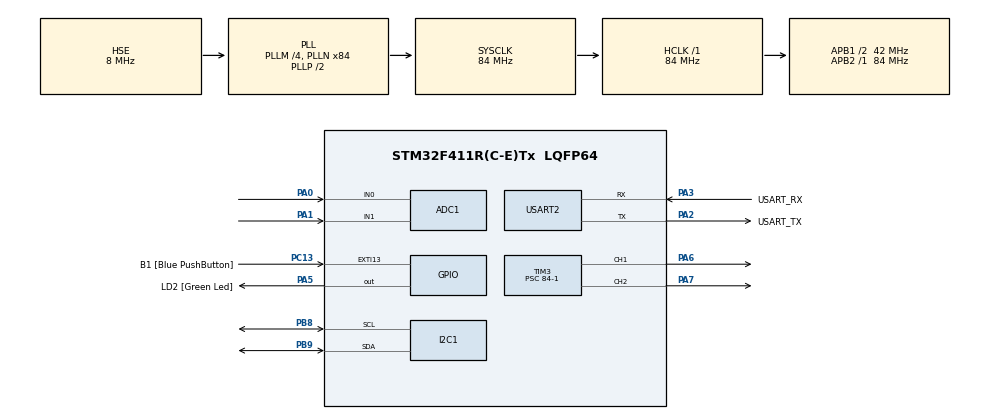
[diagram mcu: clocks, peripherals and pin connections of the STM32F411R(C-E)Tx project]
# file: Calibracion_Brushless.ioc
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ADC1.Channel-0\#ChannelRegularConversion=ADC_CHANNEL_0
ADC1.Channel-1\#ChannelRegularConversion=ADC_CHANNEL_1
ADC1.NbrOfConversion=2
ADC1.NbrOfConversionFlag=1
ADC1.Rank-0\#ChannelRegularConversion=1
ADC1.Rank-1\#ChannelRegularConversion=2
ADC1.SamplingTime-0\#ChannelRegularConversion=ADC_SAMPLETIME_84CYCLES
ADC1.SamplingTime-1\#ChannelRegularConversion=ADC_SAMPLETIME_84CYCLES
ADC1.ScanConvMode=ENABLE
ADC1.master=1
Dma.I2C1_RX.0.Direction=DMA_PERIPH_TO_MEMORY
Dma.I2C1_RX.0.FIFOMode=DMA_FIFOMODE_DISABLE
Dma.I2C1_RX.0.Instance=DMA1_Stream0
Dma.I2C1_RX.0.MemDataAlignment=DMA_MDATAALIGN_BYTE
Dma.I2C1_RX.0.MemInc=DMA_MINC_ENABLE
Dma.I2C1_RX.0.Mode=DMA_NORMAL
Dma.I2C1_RX.0.PeriphDataAlignment=DMA_PDATAALIGN_BYTE
Dma.I2C1_RX.0.PeriphInc=DMA_PINC_DISABLE
Dma.I2C1_RX.0.Priority=DMA_PRIORITY_MEDIUM
Dma.I2C1_TX.1.Direction=DMA_MEMORY_TO_PERIPH
Dma.I2C1_TX.1.FIFOMode=DMA_FIFOMODE_DISABLE
Dma.I2C1_TX.1.Instance=DMA1_Stream1
Dma.I2C1_TX.1.MemDataAlignment=DMA_MDATAALIGN_BYTE
Dma.I2C1_TX.1.MemInc=DMA_MINC_ENABLE
Dma.I2C1_TX.1.Mode=DMA_NORMAL
Dma.I2C1_TX.1.PeriphDataAlignment=DMA_PDATAALIGN_BYTE
Dma.I2C1_TX.1.PeriphInc=DMA_PINC_DISABLE
Dma.I2C1_TX.1.Priority=DMA_PRIORITY_MEDIUM
Dma.Request0=I2C1_RX
Dma.Request1=I2C1_TX
FREERTOS.Tasks01=defaultTask,24,128,StartDefaultTask,Default,NULL,Dynamic,NULL,NULL
I2C1.I2C_Mode=I2C_Fast
Mcu.Family=STM32F4
Mcu.Name=STM32F411R(C-E)Tx
Mcu.Package=LQFP64
NVIC.DMA1_Stream0_IRQn=true\:5\:0\:false\:false\:true\:true\:false\:true\:true
NVIC.DMA1_Stream1_IRQn=true\:5\:0\:false\:false\:true\:true\:false\:true\:true
NVIC.I2C1_ER_IRQn=true\:5\:0\:false\:false\:true\:true\:true\:true\:true
NVIC.I2C1_EV_IRQn=true\:5\:0\:false\:false\:true\:true\:true\:true\:true
NVIC.PriorityGroup=NVIC_PRIORITYGROUP_4
NVIC.TIM4_IRQn=true\:5\:0\:false\:true\:true\:1\:true\:true\:true\:true
PA0-WKUP.Signal=ADCx_IN0
PA1.Signal=ADCx_IN1
PA13.GPIO_Label=TMS
PA13.Mode=Serial_Wire
PA13.Signal=SYS_JTMS-SWDIO
PA14.GPIO_Label=TCK
PA14.Mode=Serial_Wire
PA14.Signal=SYS_JTCK-SWCLK
PA2.GPIO_Label=USART_TX
PA2.Mode=Asynchronous
PA2.Signal=USART2_TX
PA3.GPIO_Label=USART_RX
PA3.Mode=Asynchronous
PA3.Signal=USART2_RX
PA5.GPIO_Label=LD2 [Green Led]
PA5.Signal=GPIO_Output
PA6.Signal=S_TIM3_CH1
PA7.Signal=S_TIM3_CH2
PB3.GPIO_Label=SWO
PB3.Signal=SYS_JTDO-SWO
PB8.Mode=I2C
PB8.Signal=I2C1_SCL
PB9.Mode=I2C
PB9.Signal=I2C1_SDA
PC13-ANTI_TAMP.GPIO_Label=B1 [Blue PushButton]
PC13-ANTI_TAMP.GPIO_ModeDefaultEXTI=GPIO_MODE_IT_FALLING
PC13-ANTI_TAMP.Signal=GPXTI13
PC14-OSC32_IN.Mode=LSE-External-Oscillator
PC14-OSC32_IN.Signal=RCC_OSC32_IN
PC15-OSC32_OUT.Mode=LSE-External-Oscillator
PC15-OSC32_OUT.Signal=RCC_OSC32_OUT
PH0\ -\ OSC_IN.Mode=HSE-External-Oscillator
PH0\ -\ OSC_IN.Signal=RCC_OSC_IN
PH1\ -\ OSC_OUT.Mode=HSE-External-Oscillator
PH1\ -\ OSC_OUT.Signal=RCC_OSC_OUT
ProjectManager.HeapSize=0x200
ProjectManager.StackSize=0x400
ProjectManager.TargetToolchain=STM32CubeIDE
RCC.48MHZClocksFreq_Value=42000000
RCC.AHBFreq_Value=84000000
RCC.APB1CLKDivider=RCC_HCLK_DIV2
RCC.APB1Freq_Value=42000000
RCC.APB1TimFreq_Value=84000000
RCC.APB2Freq_Value=84000000
RCC.APB2TimFreq_Value=84000000
RCC.CortexFreq_Value=84000000
RCC.FLatency-AdvancedSettings=FLASH_LATENCY_2
RCC.HCLKFreq_Value=84000000
RCC.HSE_VALUE=8000000
RCC.HSI_VALUE=16000000
RCC.PLLM=4
RCC.PLLN=84
RCC.PLLSourceVirtual=RCC_PLLSOURCE_HSE
RCC.SYSCLKFreq_VALUE=84000000
RCC.SYSCLKSource=RCC_SYSCLKSOURCE_PLLCLK
RCC.VCOOutputFreq_Value=168000000
SH.ADCx_IN0.0=ADC1_IN0,IN0
SH.ADCx_IN1.0=ADC1_IN1,IN1
SH.S_TIM3_CH1.0=TIM3_CH1,PWM Generation1 CH1
SH.S_TIM3_CH2.0=TIM3_CH2,PWM Generation2 CH2
TIM3.Channel-PWM\ Generation1\ CH1=TIM_CHANNEL_1
TIM3.Channel-PWM\ Generation2\ CH2=TIM_CHANNEL_2
TIM3.Period=20000-1
TIM3.Prescaler=84-1
TIM4.Period=100-1
TIM4.Prescaler=8400-1
USART2.VirtualMode=VM_ASYNC
VP_FREERTOS_VS_CMSIS_V2.Mode=CMSIS_V2
VP_TIM3_VS_ClockSourceINT.Mode=Internal
VP_TIM4_VS_ClockSourceINT.Mode=Internal
board=NUCLEO-F411RE

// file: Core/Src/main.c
/* USER CODE BEGIN Header */
/**
  ******************************************************************************
  * @file           : main.c
  * @brief          : Main program body
  ******************************************************************************
  * @attention
  *
  * Copyright (c) 2026 STMicroelectronics.
  * All rights reserved.
  *
  * This software is licensed under terms that can be found in the LICENSE file
  * in the root directory of this software component.
  * If no LICENSE file comes with this software, it is provided AS-IS.
  *
  ******************************************************************************
  */
/* USER CODE END Header */
#include "main.h"
#include "cmsis_os.h"

/* USER CODE BEGIN Includes */
#include <stdio.h>
#include "FreeRTOS.h"
#include "task.h"
#include "queue.h"
/* USER CODE END Includes */

/* USER CODE BEGIN PTD */
typedef struct
{
	int adc[2];
}ADC_data_t;
/* USER CODE END PTD */

/* USER CODE BEGIN PM */
#define PWM_MIN 1000
#define PWM_MAX 2000
/* USER CODE END PM */

ADC_HandleTypeDef hadc1;

I2C_HandleTypeDef hi2c1;
DMA_HandleTypeDef hdma_i2c1_rx;
DMA_HandleTypeDef hdma_i2c1_tx;

TIM_HandleTypeDef htim3;
TIM_HandleTypeDef htim4;

UART_HandleTypeDef huart2;

/* Definitions for defaultTask */
osThreadId_t defaultTaskHandle;
const osThreadAttr_t defaultTask_attributes = {
  .name = "defaultTask",
  .stack_size = 128 * 4,
  .priority = (osPriority_t) osPriorityNormal,
};
/* USER CODE BEGIN PV */
QueueHandle_t cola = NULL;
/* USER CODE END PV */

void SystemClock_Config(void);
static void MX_GPIO_Init(void);
static void MX_DMA_Init(void);
static void MX_USART2_UART_Init(void);
static void MX_ADC1_Init(void);
static void MX_TIM3_Init(void);
static void MX_I2C1_Init(void);
static void MX_TIM4_Init(void);
void StartDefaultTask(void *argument);

static void MX_NVIC_Init(void);
/* USER CODE BEGIN PFP */
int __io_putchar(int ch);
int uart2_write(int ch);
static void ADC_Read2Blocking(void *arg);
void ADC_2_PWM(void *arg);
void map(int entrada, int *salida, int min_in, int max_in, int min_out, int max_out);
/* USER CODE END PFP */

int main(void)
{

  /* MCU Configuration--------------------------------------------------------*/

  /* Reset of all peripherals, Initializes the Flash interface and the Systick. */
  HAL_Init();

  /* Configure the system clock */
  SystemClock_Config();

  /* Initialize all configured peripherals */
  MX_GPIO_Init();
  MX_DMA_Init();
  MX_USART2_UART_Init();
  MX_ADC1_Init();
  MX_TIM3_Init();
  MX_I2C1_Init();
  MX_TIM4_Init();

  /* Initialize interrupts */
  MX_NVIC_Init();
  /* USER CODE BEGIN 2 */
  HAL_TIM_PWM_Start(&htim3, TIM_CHANNEL_1);
  HAL_TIM_PWM_Start(&htim3, TIM_CHANNEL_2);
  HAL_TIM_Base_Start_IT(&htim4);
  /* USER CODE END 2 */

  /* Init scheduler */
  osKernelInitialize();

  /* USER CODE BEGIN RTOS_QUEUES */
  /* add queues, ... */
  cola = xQueueCreate(1, sizeof(ADC_data_t));
  /* USER CODE END RTOS_QUEUES */

  /* Create the thread(s) */
  /* creation of defaultTask */
  defaultTaskHandle = osThreadNew(StartDefaultTask, NULL, &defaultTask_attributes);

  /* USER CODE BEGIN RTOS_THREADS */
  /* add threads, ... */
  xTaskCreate(ADC_Read2Blocking, "ADC", 128, NULL, 2, NULL);
  xTaskCreate(ADC_2_PWM, "PWM", 128, NULL, 2, NULL);
  /* USER CODE END RTOS_THREADS */

  /* Start scheduler */
  osKernelStart();

  /* We should never get here as control is now taken by the scheduler */

  /* Infinite loop */
  while (1)
  {

    /* USER CODE BEGIN 3 */
	  //printf("A0=%d\tA1=%d \n\r", adc_val[0], adc_val[1]);

	  //ADC A0 modifica Pwm PA6
	  //ADC A1 modifica Pwm PA7

  }
  /* USER CODE END 3 */
}

void SystemClock_Config(void)
{
  RCC_OscInitTypeDef RCC_OscInitStruct = {0};
  RCC_ClkInitTypeDef RCC_ClkInitStruct = {0};

  /** Configure the main internal regulator output voltage
  */
  __HAL_RCC_PWR_CLK_ENABLE();
  __HAL_PWR_VOLTAGESCALING_CONFIG(PWR_REGULATOR_VOLTAGE_SCALE1);

  /** Initializes the RCC Oscillators according to the specified parameters
  * in the RCC_OscInitTypeDef structure.
  */
  RCC_OscInitStruct.OscillatorType = RCC_OSCILLATORTYPE_HSE;
  RCC_OscInitStruct.HSEState = RCC_HSE_ON;
  RCC_OscInitStruct.PLL.PLLState = RCC_PLL_ON;
  RCC_OscInitStruct.PLL.PLLSource = RCC_PLLSOURCE_HSE;
  RCC_OscInitStruct.PLL.PLLM = 4;
  RCC_OscInitStruct.PLL.PLLN = 84;
  RCC_OscInitStruct.PLL.PLLP = RCC_PLLP_DIV2;
  RCC_OscInitStruct.PLL.PLLQ = 4;
  if (HAL_RCC_OscConfig(&RCC_OscInitStruct) != HAL_OK)
  {
    Error_Handler();
  }

  /** Initializes the CPU, AHB and APB buses clocks
  */
  RCC_ClkInitStruct.ClockType = RCC_CLOCKTYPE_HCLK|RCC_CLOCKTYPE_SYSCLK
                              |RCC_CLOCKTYPE_PCLK1|RCC_CLOCKTYPE_PCLK2;
  RCC_ClkInitStruct.SYSCLKSource = RCC_SYSCLKSOURCE_PLLCLK;
  RCC_ClkInitStruct.AHBCLKDivider = RCC_SYSCLK_DIV1;
  RCC_ClkInitStruct.APB1CLKDivider = RCC_HCLK_DIV2;
  RCC_ClkInitStruct.APB2CLKDivider = RCC_HCLK_DIV1;

  if (HAL_RCC_ClockConfig(&RCC_ClkInitStruct, FLASH_LATENCY_2) != HAL_OK)
  {
    Error_Handler();
  }
}

/**
  * @brief NVIC Configuration.
  * @retval None
  */
static void MX_NVIC_Init(void)
{
  /* TIM4_IRQn interrupt configuration */
  HAL_NVIC_SetPriority(TIM4_IRQn, 5, 0);
  HAL_NVIC_EnableIRQ(TIM4_IRQn);
}

static void MX_ADC1_Init(void)
{

  ADC_ChannelConfTypeDef sConfig = {0};

  /** Configure the global features of the ADC (Clock, Resolution, Data Alignment and number of conversion)
  */
  hadc1.Instance = ADC1;
  hadc1.Init.ClockPrescaler = ADC_CLOCK_SYNC_PCLK_DIV4;
  hadc1.Init.Resolution = ADC_RESOLUTION_12B;
  hadc1.Init.ScanConvMode = ENABLE;
  hadc1.Init.ContinuousConvMode = DISABLE;
  hadc1.Init.DiscontinuousConvMode = DISABLE;
  hadc1.Init.ExternalTrigConvEdge = ADC_EXTERNALTRIGCONVEDGE_NONE;
  hadc1.Init.ExternalTrigConv = ADC_SOFTWARE_START;
  hadc1.Init.DataAlign = ADC_DATAALIGN_RIGHT;
  hadc1.Init.NbrOfConversion = 2;
  hadc1.Init.DMAContinuousRequests = DISABLE;
  hadc1.Init.EOCSelection = ADC_EOC_SINGLE_CONV;
  if (HAL_ADC_Init(&hadc1) != HAL_OK)
  {
    Error_Handler();
  }

  /** Configure for the selected ADC regular channel its corresponding rank in the sequencer and its sample time.
  */
  sConfig.Channel = ADC_CHANNEL_0;
  sConfig.Rank = 1;
  sConfig.SamplingTime = ADC_SAMPLETIME_84CYCLES;
  if (HAL_ADC_ConfigChannel(&hadc1, &sConfig) != HAL_OK)
  {
    Error_Handler();
  }

  /** Configure for the selected ADC regular channel its corresponding rank in the sequencer and its sample time.
  */
  sConfig.Channel = ADC_CHANNEL_1;
  sConfig.Rank = 2;
  if (HAL_ADC_ConfigChannel(&hadc1, &sConfig) != HAL_OK)
  {
    Error_Handler();
  }

}

static void MX_I2C1_Init(void)
{

  hi2c1.Instance = I2C1;
  hi2c1.Init.ClockSpeed = 400000;
  hi2c1.Init.DutyCycle = I2C_DUTYCYCLE_2;
  hi2c1.Init.OwnAddress1 = 0;
  hi2c1.Init.AddressingMode = I2C_ADDRESSINGMODE_7BIT;
  hi2c1.Init.DualAddressMode = I2C_DUALADDRESS_DISABLE;
  hi2c1.Init.OwnAddress2 = 0;
  hi2c1.Init.GeneralCallMode = I2C_GENERALCALL_DISABLE;
  hi2c1.Init.NoStretchMode = I2C_NOSTRETCH_DISABLE;
  if (HAL_I2C_Init(&hi2c1) != HAL_OK)
  {
    Error_Handler();
  }

}

static void MX_TIM3_Init(void)
{

  TIM_ClockConfigTypeDef sClockSourceConfig = {0};
  TIM_MasterConfigTypeDef sMasterConfig = {0};
  TIM_OC_InitTypeDef sConfigOC = {0};

  htim3.Instance = TIM3;
  htim3.Init.Prescaler = 84-1;
  htim3.Init.CounterMode = TIM_COUNTERMODE_UP;
  htim3.Init.Period = 20000-1;
  htim3.Init.ClockDivision = TIM_CLOCKDIVISION_DIV1;
  htim3.Init.AutoReloadPreload = TIM_AUTORELOAD_PRELOAD_DISABLE;
  if (HAL_TIM_Base_Init(&htim3) != HAL_OK)
  {
    Error_Handler();
  }
  sClockSourceConfig.ClockSource = TIM_CLOCKSOURCE_INTERNAL;
  if (HAL_TIM_ConfigClockSource(&htim3, &sClockSourceConfig) != HAL_OK)
  {
    Error_Handler();
  }
  if (HAL_TIM_PWM_Init(&htim3) != HAL_OK)
  {
    Error_Handler();
  }
  sMasterConfig.MasterOutputTrigger = TIM_TRGO_RESET;
  sMasterConfig.MasterSlaveMode = TIM_MASTERSLAVEMODE_DISABLE;
  if (HAL_TIMEx_MasterConfigSynchronization(&htim3, &sMasterConfig) != HAL_OK)
  {
    Error_Handler();
  }
  sConfigOC.OCMode = TIM_OCMODE_PWM1;
  sConfigOC.Pulse = 0;
  sConfigOC.OCPolarity = TIM_OCPOLARITY_HIGH;
  sConfigOC.OCFastMode = TIM_OCFAST_DISABLE;
  if (HAL_TIM_PWM_ConfigChannel(&htim3, &sConfigOC, TIM_CHANNEL_1) != HAL_OK)
  {
    Error_Handler();
  }
  if (HAL_TIM_PWM_ConfigChannel(&htim3, &sConfigOC, TIM_CHANNEL_2) != HAL_OK)
  {
    Error_Handler();
  }
  HAL_TIM_MspPostInit(&htim3);

}

static void MX_TIM4_Init(void)
{

  TIM_ClockConfigTypeDef sClockSourceConfig = {0};
  TIM_MasterConfigTypeDef sMasterConfig = {0};

  htim4.Instance = TIM4;
  htim4.Init.Prescaler = 8400-1;
  htim4.Init.CounterMode = TIM_COUNTERMODE_UP;
  htim4.Init.Period = 100-1;
  htim4.Init.ClockDivision = TIM_CLOCKDIVISION_DIV1;
  htim4.Init.AutoReloadPreload = TIM_AUTORELOAD_PRELOAD_DISABLE;
  if (HAL_TIM_Base_Init(&htim4) != HAL_OK)
  {
    Error_Handler();
  }
  sClockSourceConfig.ClockSource = TIM_CLOCKSOURCE_INTERNAL;
  if (HAL_TIM_ConfigClockSource(&htim4, &sClockSourceConfig) != HAL_OK)
  {
    Error_Handler();
  }
  sMasterConfig.MasterOutputTrigger = TIM_TRGO_RESET;
  sMasterConfig.MasterSlaveMode = TIM_MASTERSLAVEMODE_DISABLE;
  if (HAL_TIMEx_MasterConfigSynchronization(&htim4, &sMasterConfig) != HAL_OK)
  {
    Error_Handler();
  }

}

static void MX_USART2_UART_Init(void)
{

  huart2.Instance = USART2;
  huart2.Init.BaudRate = 115200;
  huart2.Init.WordLength = UART_WORDLENGTH_8B;
  huart2.Init.StopBits = UART_STOPBITS_1;
  huart2.Init.Parity = UART_PARITY_NONE;
  huart2.Init.Mode = UART_MODE_TX_RX;
  huart2.Init.HwFlowCtl = UART_HWCONTROL_NONE;
  huart2.Init.OverSampling = UART_OVERSAMPLING_16;
  if (HAL_UART_Init(&huart2) != HAL_OK)
  {
    Error_Handler();
  }

}

static void MX_DMA_Init(void)
{

  /* DMA controller clock enable */
  __HAL_RCC_DMA1_CLK_ENABLE();

  /* DMA interrupt init */
  /* DMA1_Stream0_IRQn interrupt configuration */
  HAL_NVIC_SetPriority(DMA1_Stream0_IRQn, 5, 0);
  HAL_NVIC_EnableIRQ(DMA1_Stream0_IRQn);
  /* DMA1_Stream1_IRQn interrupt configuration */
  HAL_NVIC_SetPriority(DMA1_Stream1_IRQn, 5, 0);
  HAL_NVIC_EnableIRQ(DMA1_Stream1_IRQn);

}

static void MX_GPIO_Init(void)
{
  GPIO_InitTypeDef GPIO_InitStruct = {0};

  /* GPIO Ports Clock Enable */
  __HAL_RCC_GPIOC_CLK_ENABLE();
  __HAL_RCC_GPIOH_CLK_ENABLE();
  __HAL_RCC_GPIOA_CLK_ENABLE();
  __HAL_RCC_GPIOB_CLK_ENABLE();

  /*Configure GPIO pin Output Level */
  HAL_GPIO_WritePin(LD2_GPIO_Port, LD2_Pin, GPIO_PIN_RESET);

  /*Configure GPIO pin : B1_Pin */
  GPIO_InitStruct.Pin = B1_Pin;
  GPIO_InitStruct.Mode = GPIO_MODE_IT_FALLING;
  GPIO_InitStruct.Pull = GPIO_NOPULL;
  HAL_GPIO_Init(B1_GPIO_Port, &GPIO_InitStruct);

  /*Configure GPIO pin : LD2_Pin */
  GPIO_InitStruct.Pin = LD2_Pin;
  GPIO_InitStruct.Mode = GPIO_MODE_OUTPUT_PP;
  GPIO_InitStruct.Pull = GPIO_NOPULL;
  GPIO_InitStruct.Speed = GPIO_SPEED_FREQ_LOW;
  HAL_GPIO_Init(LD2_GPIO_Port, &GPIO_InitStruct);

}

/* USER CODE BEGIN 4 */
static void ADC_Read2Blocking(void *arg)
{
	ADC_data_t data;
	for(;;)
	{
		  // 1) Arranca UNA secuencia (2 conversiones)
		  HAL_ADC_Start(&hadc1);

		  // 2) Lee Rank 1
		  HAL_ADC_PollForConversion(&hadc1, HAL_MAX_DELAY); //se queda esperando por un valor en el canal 1
		  data.adc[0] = HAL_ADC_GetValue(&hadc1); //lee el valor del canal 1

		  HAL_ADC_PollForConversion(&hadc1, HAL_MAX_DELAY);// ahora para el canal 2
		  data.adc[1] = HAL_ADC_GetValue(&hadc1);

		  // 5) Detén el ADC (opcional)
		  HAL_ADC_Stop(&hadc1);
		  xQueueOverwrite(cola, &data);
		  vTaskDelay(pdMS_TO_TICKS(50));
	}
}
int uart2_write(int ch){
/*Make sure the transmit data register is empty*/
	while(!(USART2->SR & USART_SR_TXE)){}
 /*Write to transmit data register*/
	USART2->DR = (ch & 0xFF);
	return ch;
}
int __io_putchar(int ch){
	uart2_write(ch);
	return ch;
}
void ADC_2_PWM(void *arg)
{
	int pwm = 0;
	ADC_data_t data;
	for(;;)
	{
		xQueuePeek(cola, &data, portMAX_DELAY);

		map(data.adc[0], &pwm, 0, 4095, PWM_MIN, PWM_MAX);
		__HAL_TIM_SET_COMPARE(&htim3, TIM_CHANNEL_1, pwm);

		map(data.adc[1], &pwm, 0, 4095, PWM_MIN, PWM_MAX);
		__HAL_TIM_SET_COMPARE(&htim3, TIM_CHANNEL_2, pwm);

		printf("PWM = %d\n\r", pwm);

		vTaskDelay(pdMS_TO_TICKS(100));
	}
}
void map(int entrada, int *salida, int min_in, int max_in, int min_out, int max_out)
{
	*salida = (int)( (entrada - min_in) * (max_out - min_out) / (max_in - min_in) + min_out );
}
/* USER CODE END 4 */

void StartDefaultTask(void *argument)
{
  for(;;)
  {
    osDelay(1);
  }
}

void Error_Handler(void)
{
  __disable_irq();
  while (1)
  {
  }
}
